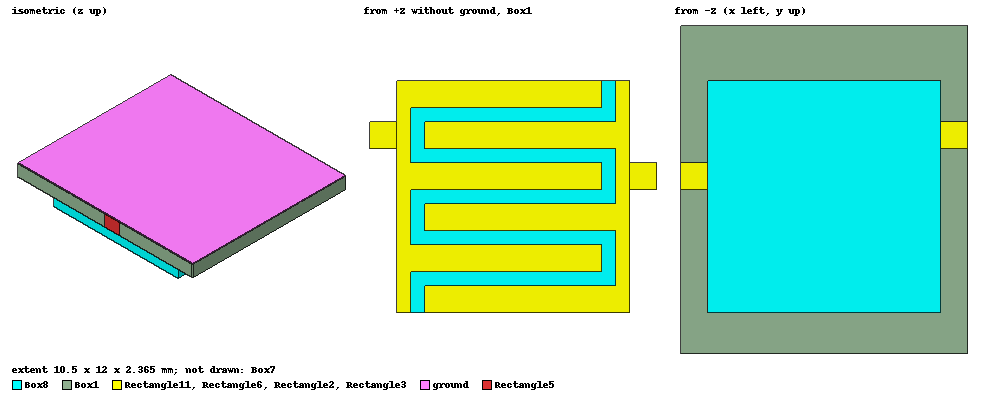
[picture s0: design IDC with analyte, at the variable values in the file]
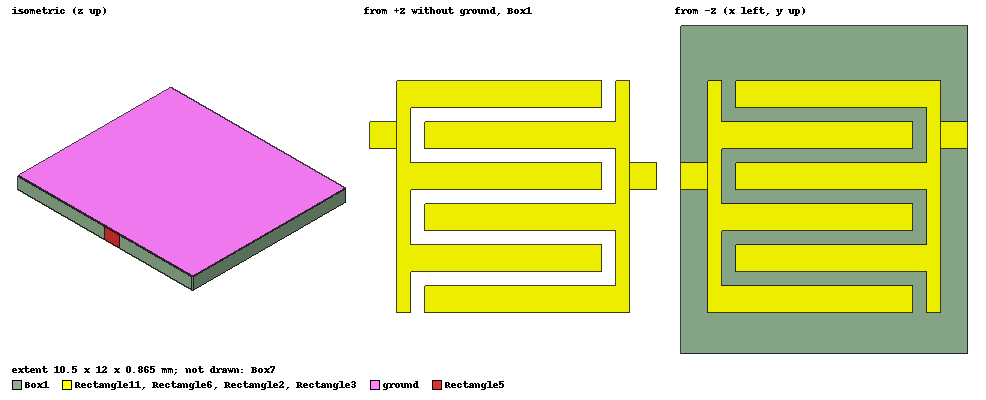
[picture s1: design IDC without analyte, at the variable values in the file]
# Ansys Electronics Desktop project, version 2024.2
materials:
  vacuum: permittivity=1
  Rogers RO4003 (tm): permittivity=3.55 dielectric_loss_tangent=0.0027
  copper: permeability=0.999991 conductivity=58000000
  water_distilled: permittivity=81 permeability=0.999991 conductivity=0.0002

design IDC with analyte (HFSS, HFSS Terminal Network, model units mm)
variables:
  t = -0.035mm
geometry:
  Box1 [Rogers RO4003 (tm)] = box(corner=(-4.5mm, 2mm, 0mm), size=(10.5mm, -8mm, 0.83mm))
  Box2 = box(corner=(-3.5mm, 1mm, 0mm), size=(7.5mm, -1mm, 0mm))
  Box3 = box(corner=(-3.5mm, -2mm, 0mm), size=(7.5mm, -1mm, 0mm))
  Box4 = box(corner=(5mm, -0.5mm, 0mm), size=(-7.5mm, -1mm, 0mm))
  Box5 = box(corner=(-2.5mm, -3.5mm, 0mm), size=(7.5mm, -1mm, 0mm))
  Box6 = box(corner=(-3.5mm, 0mm, 0mm), size=(0.5mm, -2mm, 0mm))
  Rectangle1 = rectangle(corner=(4.5mm, -1.5mm, 0mm), x_size=0.5mm, y_size=-2mm)
  ground = rectangle(corner=(-4.5mm, 2mm, 0.83mm), x_size=10.5mm, y_size=-8mm)
  Box2.unite(Box3, Box6)
  Box2.thicken(0.035mm)
  Box4.unite(Box5, Rectangle1)
  Box4.thicken(0.035mm)
  Rectangle2 = rectangle(corner=(-3.5mm, -1.5mm, 0mm), x_size=-1mm, y_size=1mm)
  Rectangle3 = rectangle(corner=(5mm, -3mm, 0mm), x_size=1mm, y_size=1mm)
  Rectangle4 = rectangle(corner=(-4.5mm, -1.5mm, 0mm), y_size=1mm, z_size=0.83mm)
  Rectangle5 = rectangle(corner=(6mm, -2mm, 0mm), y_size=-1mm, z_size=0.83mm)
  Box7 [vacuum] = box(corner=(-25mm, -20mm, -5mm), size=(50mm, 40mm, 10mm))
  Box1.scale(1, 1.5, 1)
  Rectangle6 [copper] = rectangle(corner=(4mm, -5mm, 0mm), x_size=-7.5mm, y_size=-1mm)
  Rectangle6.thicken(-0.035mm)
  ground.scale(1, 1.5, 1)
  Rectangle7 = rectangle(corner=(-2.5mm, -6.5mm, 0mm), x_size=7.5mm, y_size=-1mm)
  Rectangle7.thicken(0.035mm)
  Rectangle9 = rectangle(corner=(-3.5mm, -5mm, 0mm), x_size=0.5mm, y_size=2mm)
  Rectangle9.thicken(-0.035mm)
  Rectangle10 = rectangle(corner=(5mm, -6.5mm, -0.035mm), x_size=-0.5mm, y_size=2mm)
  Rectangle10.thicken(-0.035mm)
  Rectangle10.unite(Rectangle7, Box4)
  Rectangle6.unite(Rectangle9, Box2)
  Rectangle11 [copper] = rectangle(corner=(4.5mm, -0.5mm, 0mm), x_size=0.5mm, y_size=1.5mm)
  Rectangle11.thicken(-0.035mm)
  Rectangle11.unite(Rectangle10)
  Rectangle12 = rectangle(corner=(-3mm, -6mm, 0mm), x_size=-0.5mm, y_size=-1.5mm)
  Rectangle12.thicken(-0.035mm)
  Rectangle6.unite(Rectangle12)
  Box8 [water_distilled] = box(corner=(-3.5mm, -7.5mm, -0.035mm), size=(8.5mm, 8.5mm, -1.5mm))
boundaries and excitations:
  PerfE1: Perfect E Objects=ground
  PerfE2: Perfect E Objects=[Rectangle2, Rectangle3]
  Rad1: Radiation Objects=Box7
  PerfE3: Perfect E Objects=Rectangle6
  1: Lumped Port Objects=Rectangle4 LumpedPortType=Modal Modes{Mode1{IntLine{(-4.5, -1, 0.83) -> (-4.5, -1, 0)} CharImp=Zpi}} Impedance=50ohm
  2: Lumped Port Objects=Rectangle5 LumpedPortType=Modal Modes{Mode1{IntLine{(6, -2.5, 0.83) -> (6, -2.5, 0)} CharImp=Zpi}} Impedance=50ohm
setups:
  Setup1: HfssDriven Frequency=5GHz MaxDeltaS=0.02 MaximumPasses=10 MinimumPasses=1 MinimumConvergedPasses=1 PercentRefinement=30 BasisOrder=1 PortAccuracy=2 DrivenSolverType="Direct Solver"
    sweep Sweep: 2.5GHz to 7.5GHz, 401 points; Type=Interpolating InterpTolerance=0.5 InterpMaxSolns=250 PassivityErrorTolerance=0.0001
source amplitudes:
  1:1: 1V 0deg
  2:1: 0V 0deg
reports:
  S Parameter Plot 1: dB(S(1,1)), dB(S(2,1)) vs Freq on Setup1 : Sweep

design IDC without analyte (HFSS, HFSS Terminal Network, model units mm)
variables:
  t = -0.035mm
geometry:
  Box1 [Rogers RO4003 (tm)] = box(corner=(-4.5mm, 2mm, 0mm), size=(10.5mm, -8mm, 0.83mm))
  Box2 = box(corner=(-3.5mm, 1mm, 0mm), size=(7.5mm, -1mm, 0mm))
  Box3 = box(corner=(-3.5mm, -2mm, 0mm), size=(7.5mm, -1mm, 0mm))
  Box4 = box(corner=(5mm, -0.5mm, 0mm), size=(-7.5mm, -1mm, 0mm))
  Box5 = box(corner=(-2.5mm, -3.5mm, 0mm), size=(7.5mm, -1mm, 0mm))
  Box6 = box(corner=(-3.5mm, 0mm, 0mm), size=(0.5mm, -2mm, 0mm))
  Rectangle1 = rectangle(corner=(4.5mm, -1.5mm, 0mm), x_size=0.5mm, y_size=-2mm)
  ground = rectangle(corner=(-4.5mm, 2mm, 0.83mm), x_size=10.5mm, y_size=-8mm)
  Box2.unite(Box3, Box6)
  Box2.thicken(0.035mm)
  Box4.unite(Box5, Rectangle1)
  Box4.thicken(0.035mm)
  Rectangle2 = rectangle(corner=(-3.5mm, -1.5mm, 0mm), x_size=-1mm, y_size=1mm)
  Rectangle3 = rectangle(corner=(5mm, -3mm, 0mm), x_size=1mm, y_size=1mm)
  Rectangle4 = rectangle(corner=(-4.5mm, -1.5mm, 0mm), y_size=1mm, z_size=0.83mm)
  Rectangle5 = rectangle(corner=(6mm, -2mm, 0mm), y_size=-1mm, z_size=0.83mm)
  Box7 [vacuum] = box(corner=(-25mm, -20mm, -5mm), size=(50mm, 40mm, 10mm))
  Box1.scale(1, 1.5, 1)
  Rectangle6 [copper] = rectangle(corner=(4mm, -5mm, 0mm), x_size=-7.5mm, y_size=-1mm)
  Rectangle6.thicken(-0.035mm)
  ground.scale(1, 1.5, 1)
  Rectangle7 = rectangle(corner=(-2.5mm, -6.5mm, 0mm), x_size=7.5mm, y_size=-1mm)
  Rectangle7.thicken(0.035mm)
  Rectangle9 = rectangle(corner=(-3.5mm, -5mm, 0mm), x_size=0.5mm, y_size=2mm)
  Rectangle9.thicken(-0.035mm)
  Rectangle10 = rectangle(corner=(5mm, -6.5mm, -0.035mm), x_size=-0.5mm, y_size=2mm)
  Rectangle10.thicken(-0.035mm)
  Rectangle10.unite(Rectangle7, Box4)
  Rectangle6.unite(Rectangle9, Box2)
  Rectangle11 [copper] = rectangle(corner=(4.5mm, -0.5mm, 0mm), x_size=0.5mm, y_size=1.5mm)
  Rectangle11.thicken(-0.035mm)
  Rectangle11.unite(Rectangle10)
  Rectangle12 = rectangle(corner=(-3mm, -6mm, 0mm), x_size=-0.5mm, y_size=-1.5mm)
  Rectangle12.thicken(-0.035mm)
  Rectangle6.unite(Rectangle12)
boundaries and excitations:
  PerfE1: Perfect E Objects=ground
  PerfE2: Perfect E Objects=[Rectangle2, Rectangle3]
  Rad1: Radiation Objects=Box7
  PerfE3: Perfect E Objects=Rectangle6
  1: Lumped Port Objects=Rectangle4 LumpedPortType=Modal Modes{Mode1{IntLine{(-4.5, -1, 0.83) -> (-4.5, -1, 0)} CharImp=Zpi}} Impedance=50ohm
  2: Lumped Port Objects=Rectangle5 LumpedPortType=Modal Modes{Mode1{IntLine{(6, -2.5, 0.83) -> (6, -2.5, 0)} CharImp=Zpi}} Impedance=50ohm
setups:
  Setup1: HfssDriven Frequency=5GHz MaxDeltaS=0.02 MaximumPasses=10 MinimumPasses=1 MinimumConvergedPasses=1 PercentRefinement=30 BasisOrder=1 PortAccuracy=2 DrivenSolverType="Direct Solver"
    sweep Sweep: 2.5GHz to 7.5GHz, 401 points; Type=Interpolating InterpTolerance=0.5 InterpMaxSolns=250 PassivityErrorTolerance=0.0001
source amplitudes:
  1:1: 1V 0deg
  2:1: 0V 0deg
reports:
  S Parameter Plot 1: dB(S(1,1)), dB(S(2,1)) vs Freq on Setup1 : Sweep
